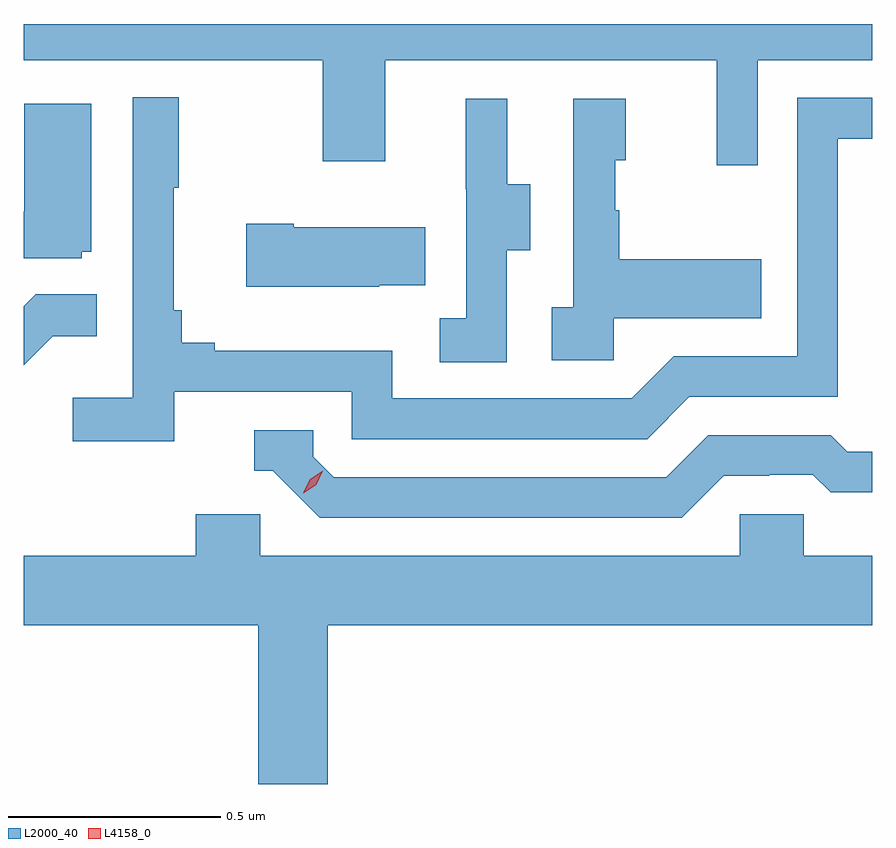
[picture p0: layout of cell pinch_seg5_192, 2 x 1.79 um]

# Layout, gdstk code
import gdstk
lib = gdstk.Library(unit=1e-6, precision=1e-09)
def P(c, l, *ps):  # polygons
    for p in ps: c.add(gdstk.Polygon(p, *l))
L2000_40 = (2000, 40)
L4158_0 = (4158, 0)

pinch_seg5_192 = lib.new_cell('pinch_seg5_192')
P(pinch_seg5_192, L2000_40, [(1137.213,880.736),(1137.483,880.736),(1137.483,880.821),(1135.483,880.821),(1135.483,880.736),(1136.188,880.736),(1136.188,880.497),(1136.335,880.497),(1136.335,880.736),(1137.116,880.736),(1137.116,880.488),(1137.213,880.488)],
  [(1135.838,879.954),(1136.256,879.954),(1136.256,879.843),(1136.953,879.843),(1137.052,879.942),(1137.402,879.942),(1137.402,880.551),(1137.483,880.551),(1137.483,880.647),(1137.306,880.647),(1137.306,880.038),(1137.015,880.038),(1136.916,879.939),(1136.352,879.939),(1136.352,880.051),(1135.933,880.051),(1135.933,880.07),(1135.856,880.07),(1135.856,880.147),(1135.837,880.147),(1135.837,880.435),(1135.849,880.435),(1135.849,880.648),(1135.74,880.648),(1135.74,879.94),(1135.599,879.94),(1135.599,879.838),(1135.838,879.838)],
  [(1136.874,880.127),(1137.221,880.127),(1137.221,880.267),(1136.887,880.267),(1136.887,880.382),(1136.877,880.382),(1136.877,880.5),(1136.902,880.5),(1136.902,880.645),(1136.778,880.645),(1136.778,880.154),(1136.727,880.154),(1136.727,880.029),(1136.874,880.029)],
  [(1136.622,880.288),(1136.677,880.288),(1136.677,880.443),(1136.623,880.443),(1136.623,880.645),(1136.525,880.645),(1136.525,880.431),(1136.526,880.431),(1136.526,880.127),(1136.463,880.127),(1136.463,880.024),(1136.622,880.024)],
  [(1135.62,880.284),(1135.642,880.284),(1135.642,880.633),(1135.484,880.633),(1135.484,880.378),(1135.483,880.378),(1135.483,880.269),(1135.62,880.269)],
  [(1136.321,880.205),(1136.429,880.205),(1136.429,880.342),(1136.119,880.342),(1136.119,880.35),(1136.007,880.35),(1136.007,880.202),(1136.321,880.202)],
  [(1135.551,880.085),(1135.655,880.085),(1135.655,880.184),(1135.511,880.184),(1135.483,880.156),(1135.483,880.017)],
  [(1137.133,879.756),(1137.24,879.756),(1137.24,879.759),(1137.343,879.759),(1137.385,879.717),(1137.483,879.717),(1137.483,879.813),(1137.424,879.813),(1137.385,879.852),(1137.096,879.852),(1136.997,879.753),(1136.214,879.753),(1136.166,879.801),(1136.166,879.864),(1136.027,879.864),(1136.027,879.768),(1136.07,879.768),(1136.181,879.657),(1137.034,879.657)],
  [(1136.2,879.404),(1137.483,879.404),(1137.483,879.568),(1137.321,879.568),(1137.321,879.666),(1137.171,879.666),(1137.171,879.568),(1136.04,879.568),(1136.04,879.666),(1135.889,879.666),(1135.889,879.568),(1135.483,879.568),(1135.483,879.404),(1136.036,879.404),(1136.036,879.03),(1136.2,879.03)])
P(pinch_seg5_192, L4158_0, [(1136.142,879.715),(1136.142,879.716),(1136.158,879.748),(1136.188,879.768),(1136.188,879.768),(1136.188,879.768),(1136.173,879.735),(1136.142,879.715)])

lib.write_gds('pinch_seg5_192.gds')
